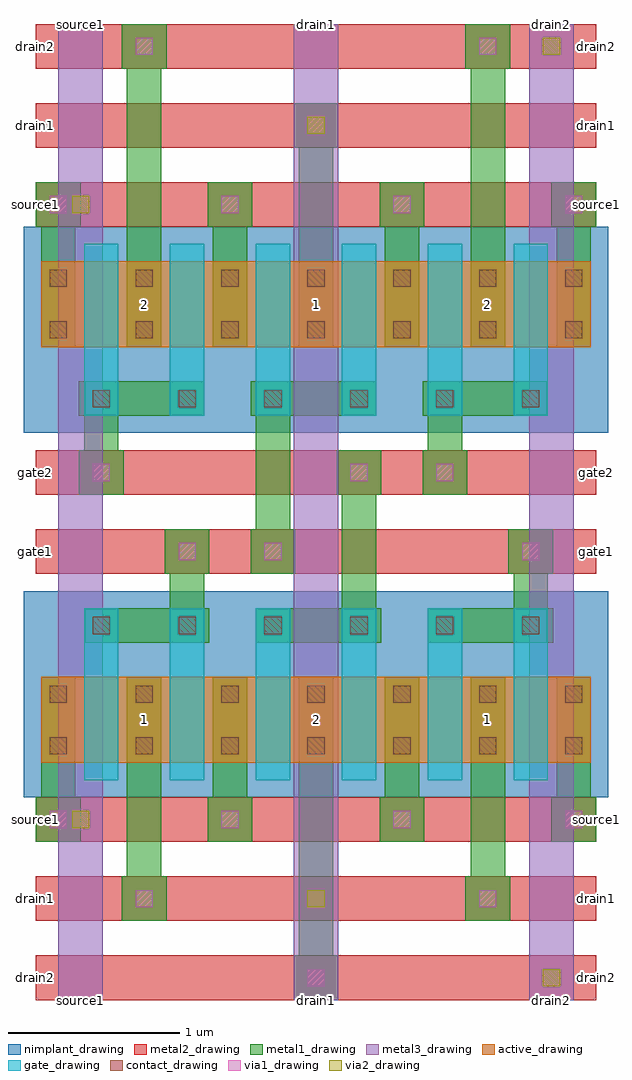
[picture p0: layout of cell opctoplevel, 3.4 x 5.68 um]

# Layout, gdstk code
import gdstk
lib = gdstk.Library(unit=1e-6, precision=1e-09)
def R(c, l, rs):  # rectangles x0, y0, x1, y1
    for r in rs: c.add(gdstk.rectangle(r[:2], r[2:], *l))
def A(c, l, x, y, w, h, nx, ny, dx, dy):  # array of equal rectangles
    R(c, l, [(x+i*dx, y+j*dy, x+i*dx+w, y+j*dy+h) for i in range(nx) for j in range(ny)])
active_drawing = (1, 0)
nimplant_drawing = (5, 0)
gate_drawing = (6, 0)
contact_drawing = (7, 0)
metal1_drawing = (8, 0)
via1_drawing = (9, 0)
metal2_drawing = (10, 0)
via2_drawing = (11, 0)
metal3_drawing = (12, 0)

opctoplevel = lib.new_cell('opctoplevel')
A(opctoplevel, active_drawing, -0.25, 0, 1.2, 0.5, 3, 2, 1, 2.42)
A(opctoplevel, nimplant_drawing, -0.35, -0.2, 1.4, 1.2, 3, 2, 1, 2.12)
A(opctoplevel, gate_drawing, 0, -0.1, 0.2, 1, 6, 2, 0.5, 2.12)
A(opctoplevel, contact_drawing, -0.2, 0.05, 0.1, 0.1, 3, 2, 0.5, 0.3)
A(opctoplevel, contact_drawing, 0.8, 0.05, 0.1, 0.1, 3, 2, 0.5, 0.3)
A(opctoplevel, contact_drawing, 1.8, 0.05, 0.1, 0.1, 3, 2, 0.5, 0.3)
A(opctoplevel, contact_drawing, 0.05, 0.75, 0.1, 0.1, 6, 2, 0.5, 1.32)
A(opctoplevel, contact_drawing, -0.2, 2.47, 0.1, 0.1, 3, 2, 0.5, 0.3)
A(opctoplevel, contact_drawing, 0.8, 2.47, 0.1, 0.1, 3, 2, 0.5, 0.3)
A(opctoplevel, contact_drawing, 1.8, 2.47, 0.1, 0.1, 3, 2, 0.5, 0.3)
A(opctoplevel, metal1_drawing, -0.25, 0, 0.2, 0.5, 3, 2, 0.5, 2.42)
A(opctoplevel, metal1_drawing, 0.75, 0, 0.2, 0.5, 3, 2, 0.5, 2.42)
A(opctoplevel, metal1_drawing, 1.75, 0, 0.2, 0.5, 3, 2, 0.5, 2.42)
A(opctoplevel, metal1_drawing, 0, 0.7, 0.7, 0.2, 3, 2, 1, 1.32)
A(opctoplevel, metal1_drawing, 0.47, 0.7, 0.26, 0.2, 3, 1, 1, 0)
A(opctoplevel, metal1_drawing, -0.03, 2.02, 0.26, 0.2, 3, 1, 1, 0)
R(opctoplevel, metal1_drawing, [(1.22,-1.38,1.48,-1.12), (1.25,-1.38,1.45,0), (0.22,-0.92,0.48,-0.66), (0.25,-0.92,0.45,0), (2.22,-0.92,2.48,-0.66), (2.25,-0.92,2.45,0), (-0.28,-0.46,-0.02,-0.2), (-0.25,-0.46,-0.05,0), (0.72,-0.46,0.98,-0.2), (0.72,-0.46,0.98,-0.2), (0.75,-0.46,0.95,0), (0.75,-0.46,0.95,0), (1.72,-0.46,1.98,-0.2), (1.72,-0.46,1.98,-0.2), (1.75,-0.46,1.95,0), (1.75,-0.46,1.95,0), (2.72,-0.46,2.98,-0.2), (2.75,-0.46,2.95,0), (0.5,0.9,0.7,1.1), (1.5,0.9,1.7,1.56), (2.5,0.9,2.7,1.1), (0.47,1.1,0.73,1.36), (0.97,1.1,1.23,1.36), (2.47,1.1,2.73,1.36), (1,1.36,1.2,2.02), (-0.03,1.56,0.23,1.82), (1.47,1.56,1.73,1.82), (1.97,1.56,2.23,1.82), (0,1.82,0.2,2.02), (2,1.82,2.2,2.02), (-0.25,2.92,-0.05,3.38), (0.25,2.92,0.45,4.3), (0.75,2.92,0.95,3.38), (0.75,2.92,0.95,3.38), (1.25,2.92,1.45,3.84), (1.75,2.92,1.95,3.38), (1.75,2.92,1.95,3.38), (2.25,2.92,2.45,4.3), (2.75,2.92,2.95,3.38), (-0.28,3.12,-0.02,3.38), (0.72,3.12,0.98,3.38), (0.72,3.12,0.98,3.38), (1.72,3.12,1.98,3.38), (1.72,3.12,1.98,3.38), (2.72,3.12,2.98,3.38), (1.22,3.58,1.48,3.84), (0.22,4.04,0.48,4.3), (2.22,4.04,2.48,4.3)])
R(opctoplevel, via1_drawing, [(1.3,-1.3,1.4,-1.2), (0.3,-0.84,0.4,-0.74), (2.3,-0.84,2.4,-0.74), (-0.2,-0.38,-0.1,-0.28), (0.8,-0.38,0.9,-0.28), (0.8,-0.38,0.9,-0.28), (1.8,-0.38,1.9,-0.28), (1.8,-0.38,1.9,-0.28), (2.8,-0.38,2.9,-0.28), (0.55,1.18,0.65,1.28), (1.05,1.18,1.15,1.28), (2.55,1.18,2.65,1.28), (0.05,1.64,0.15,1.74), (1.55,1.64,1.65,1.74), (2.05,1.64,2.15,1.74), (-0.2,3.2,-0.1,3.3), (0.8,3.2,0.9,3.3), (0.8,3.2,0.9,3.3), (1.8,3.2,1.9,3.3), (1.8,3.2,1.9,3.3), (2.8,3.2,2.9,3.3), (1.3,3.66,1.4,3.76), (0.3,4.12,0.4,4.22), (2.3,4.12,2.4,4.22)])
A(opctoplevel, metal2_drawing, -0.28, -1.38, 3.26, 0.26, 1, 3, 0, 0.46)
A(opctoplevel, metal2_drawing, -0.28, 3.12, 3.26, 0.26, 1, 3, 0, 0.46)
R(opctoplevel, metal2_drawing, [(1.22,-1.38,1.48,-1.12), (0.22,-0.92,0.48,-0.66), (2.22,-0.92,2.48,-0.66), (-0.28,-0.46,-0.02,-0.2), (0.72,-0.46,0.98,-0.2), (0.72,-0.46,0.98,-0.2), (1.72,-0.46,1.98,-0.2), (1.72,-0.46,1.98,-0.2), (2.72,-0.46,2.98,-0.2), (-0.28,1.1,2.98,1.36), (0.47,1.1,0.73,1.36), (0.97,1.1,1.23,1.36), (2.47,1.1,2.73,1.36), (-0.28,1.56,2.98,1.82), (-0.03,1.56,0.23,1.82), (1.47,1.56,1.73,1.82), (1.97,1.56,2.23,1.82), (-0.28,3.12,-0.02,3.38), (0.72,3.12,0.98,3.38), (0.72,3.12,0.98,3.38), (1.72,3.12,1.98,3.38), (1.72,3.12,1.98,3.38), (2.72,3.12,2.98,3.38), (1.22,3.58,1.48,3.84), (0.22,4.04,0.48,4.3), (2.22,4.04,2.48,4.3)])
R(opctoplevel, via2_drawing, [(2.67,-1.3,2.77,-1.2), (1.3,-0.84,1.4,-0.74), (-0.07,-0.38,0.03,-0.28), (-0.07,3.2,0.03,3.3), (1.3,3.66,1.4,3.76), (2.67,4.12,2.77,4.22)])
A(opctoplevel, metal3_drawing, -0.15, -1.38, 0.26, 5.68, 3, 1, 1.37, 0)
opctoplevel.add(gdstk.Label('1', (0.35,0.25), layer=234, texttype=0))
opctoplevel.add(gdstk.Label('2', (1.35,0.25), layer=234, texttype=0))
opctoplevel.add(gdstk.Label('1', (2.35,0.25), layer=234, texttype=0))
opctoplevel.add(gdstk.Label('2', (0.35,2.67), layer=234, texttype=0))
opctoplevel.add(gdstk.Label('1', (1.35,2.67), layer=234, texttype=0))
opctoplevel.add(gdstk.Label('2', (2.35,2.67), layer=234, texttype=0))
opctoplevel.add(gdstk.Label('gate1', (-0.28,1.23), layer=10, texttype=0))
opctoplevel.add(gdstk.Label('gate1', (2.98,1.23), layer=10, texttype=0))
opctoplevel.add(gdstk.Label('gate2', (-0.28,1.69), layer=10, texttype=0))
opctoplevel.add(gdstk.Label('gate2', (2.98,1.69), layer=10, texttype=0))
opctoplevel.add(gdstk.Label('source1', (-0.28,-0.33), layer=10, texttype=0))
opctoplevel.add(gdstk.Label('source1', (2.98,-0.33), layer=10, texttype=0))
opctoplevel.add(gdstk.Label('drain1', (-0.28,-0.79), layer=10, texttype=0))
opctoplevel.add(gdstk.Label('drain1', (2.98,-0.79), layer=10, texttype=0))
opctoplevel.add(gdstk.Label('drain2', (-0.28,-1.25), layer=10, texttype=0))
opctoplevel.add(gdstk.Label('drain2', (2.98,-1.25), layer=10, texttype=0))
opctoplevel.add(gdstk.Label('source1', (-0.28,3.25), layer=10, texttype=0))
opctoplevel.add(gdstk.Label('source1', (2.98,3.25), layer=10, texttype=0))
opctoplevel.add(gdstk.Label('drain1', (-0.28,3.71), layer=10, texttype=0))
opctoplevel.add(gdstk.Label('drain1', (2.98,3.71), layer=10, texttype=0))
opctoplevel.add(gdstk.Label('drain2', (-0.28,4.17), layer=10, texttype=0))
opctoplevel.add(gdstk.Label('drain2', (2.98,4.17), layer=10, texttype=0))
opctoplevel.add(gdstk.Label('source1', (-0.02,-1.38), layer=12, texttype=0))
opctoplevel.add(gdstk.Label('source1', (-0.02,4.3), layer=12, texttype=0))
opctoplevel.add(gdstk.Label('drain1', (1.35,-1.38), layer=12, texttype=0))
opctoplevel.add(gdstk.Label('drain1', (1.35,4.3), layer=12, texttype=0))
opctoplevel.add(gdstk.Label('drain2', (2.72,-1.38), layer=12, texttype=0))
opctoplevel.add(gdstk.Label('drain2', (2.72,4.3), layer=12, texttype=0))

lib.write_gds('opctoplevel.gds')
